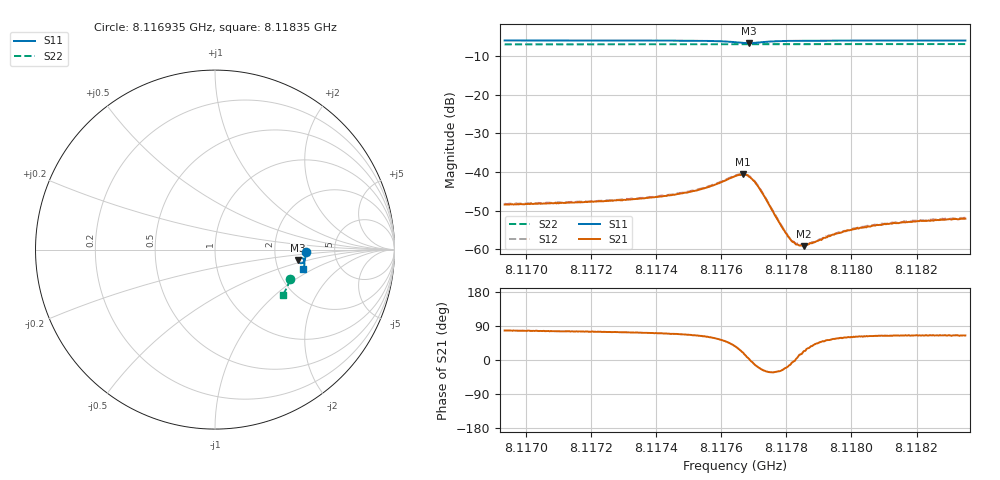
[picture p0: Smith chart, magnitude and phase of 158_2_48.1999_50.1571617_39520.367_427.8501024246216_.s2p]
#  HZ  S  RI  R  50.00
! Rohde & Schwarz Vector Network Analyzer
! Rohde-Schwarz,ZNB20-2Port,1311601062101988,3.16
! Created: UTC 3/20/2024, 11:43:06 AM
! freq[Hz]  re:S11  im:S11  re:S21  im:S21  re:S12  im:S12  re:S22  im:S22
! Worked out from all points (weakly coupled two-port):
!   401 points, 8.116935 GHz to 8.11835 GHz, reference 50 ohm
!   highest |S21| = -40.53 dB at 8.117667 GHz (marker M1); lowest = -59.2 dB at 8.117855 GHz (marker M2)
!   lowest |S11| = -6.6 dB at 8.117685 GHz (marker M3), VSWR 2.76, Z = 134 - j20.1 ohm
!   |S11| at or under -10 dB: nowhere
!   |S22| runs from -6.9 to -6.8 dB; largest |S21 - S12| = 0.00035
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8.1169353e9  0.5061 -0.012  0.000799 0.00372  0.000856 0.00379  0.4191 -0.1651
8.1171723e9  0.5048 -0.0309  0.00104 0.00394  0.00114 0.00398  0.4135 -0.1807
8.117335e9  0.5032 -0.0446  0.00136 0.00425  0.00139 0.00431  0.4092 -0.1912
8.1174093e9  0.5018 -0.0514  0.00161 0.00453  0.00167 0.00461  0.407 -0.196
8.117526e9  0.4974 -0.0639  0.00249 0.00523  0.00259 0.0053  0.4036 -0.2037
8.1175755e9  0.4927 -0.0705  0.00351 0.00572  0.00364 0.00582  0.402 -0.2069
8.1176427e9  0.4754 -0.0758  0.00712 0.00525  0.00731 0.00527  0.3993 -0.211
8.1176674e9  0.466 -0.0684  0.00888 0.00311  0.00898 0.00296  0.3982 -0.2119
8.1176851e9  0.4641 -0.0585  0.00871 0.000548  0.00894 0.000455  0.3978 -0.2124
8.1176993e9  0.4677 -0.0508  0.00767 -0.00121  0.00782 -0.00131  0.3977 -0.213
8.117717e9  0.4758 -0.046  0.00579 -0.00222  0.00588 -0.00237  0.3974 -0.214
8.1177842e9  0.4942 -0.054  0.00178 -0.000956  0.00182 -0.000958  0.3962 -0.2187
8.1178125e9  0.4966 -0.0588  0.00132 -0.000293  0.00133 -0.000304  0.3955 -0.2204
8.1178337e9  0.4977 -0.0621  0.00115 0.000116  0.00118 0.000158  0.3948 -0.2219
8.1178549e9  0.498 -0.0649  0.001 0.000447  0.00107 0.000418  0.3941 -0.2233
8.1178797e9  0.4984 -0.068  0.000957 0.00072  0.001 0.00073  0.3933 -0.2249
8.1179362e9  0.4986 -0.0744  0.000889 0.0012  0.000897 0.00123  0.3915 -0.2285
8.1179822e9  0.4983 -0.0789  0.000884 0.00149  0.000873 0.00146  0.3899 -0.2315
8.1180423e9  0.4976 -0.0844  0.00091 0.00171  0.000926 0.00175  0.388 -0.2352
8.1181166e9  0.4966 -0.0908  0.000932 0.00192  0.000981 0.00197  0.3855 -0.2398
8.1182086e9  0.4953 -0.0983  0.000974 0.0021  0.00102 0.00212  0.3824 -0.2454
8.11835e9  0.493 -0.1093  0.00106 0.00225  0.0011 0.00231  0.3771 -0.254
